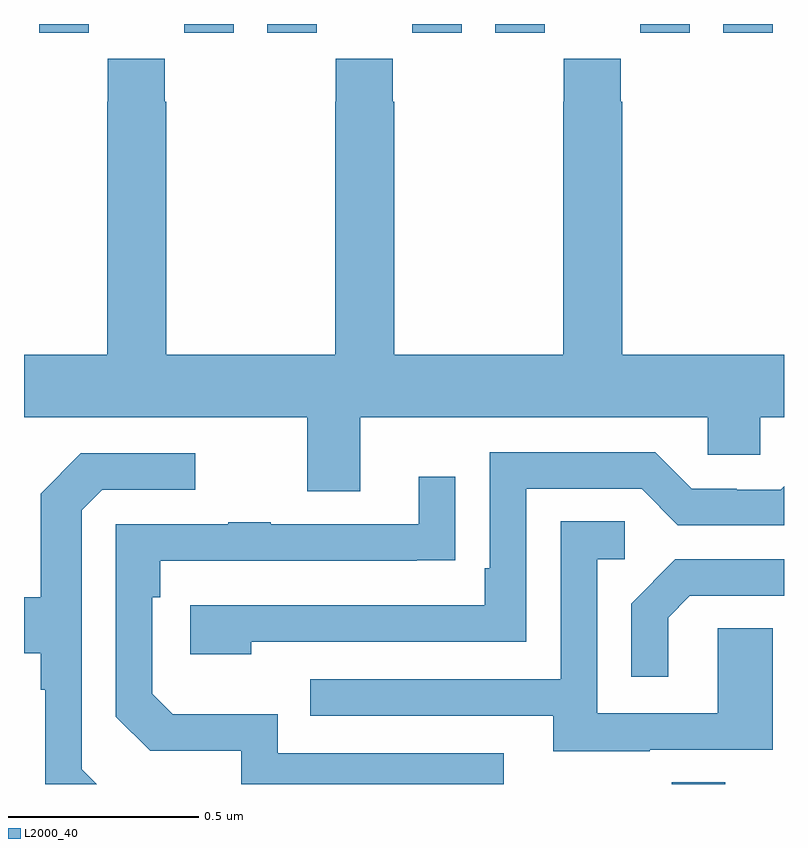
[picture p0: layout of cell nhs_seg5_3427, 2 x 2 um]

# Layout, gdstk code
import gdstk
lib = gdstk.Library(unit=1e-6, precision=1e-09)
def R(c, l, rs):  # rectangles x0, y0, x1, y1
    for r in rs: c.add(gdstk.rectangle(r[:2], r[2:], *l))
def P(c, l, *ps):  # polygons
    for p in ps: c.add(gdstk.Polygon(p, *l))
L2000_40 = (2000, 40)

nhs_seg5_3427 = lib.new_cell('nhs_seg5_3427')
R(nhs_seg5_3427, L2000_40, [(158.705,851.799,158.845,851.804), (157.04,853.776,157.17,853.799), (157.422,853.776,157.552,853.799), (157.64,853.776,157.77,853.799), (158.022,853.776,158.152,853.799), (158.24,853.776,158.37,853.799), (158.622,853.776,158.752,853.799), (158.84,853.776,158.97,853.799)])
P(nhs_seg5_3427, L2000_40, [(158.574,853.595),(158.571,853.595),(158.571,853.708),(158.421,853.708),(158.421,853.595),(158.419,853.595),(158.419,852.928),(157.974,852.928),(157.974,853.595),(157.971,853.595),(157.971,853.708),(157.821,853.708),(157.821,853.595),(157.819,853.595),(157.819,852.928),(157.374,852.928),(157.374,853.595),(157.371,853.595),(157.371,853.708),(157.221,853.708),(157.221,853.595),(157.219,853.595),(157.219,852.928),(157,852.928),(157,852.764),(157.745,852.764),(157.745,852.57),(157.885,852.57),(157.885,852.764),(158.799,852.764),(158.799,852.666),(158.937,852.666),(158.937,852.764),(159,852.764),(159,852.928),(158.574,852.928)],
  [(157.598,852.174),(158.322,852.174),(158.322,852.576),(158.625,852.576),(158.721,852.48),(159,852.48),(159,852.582),(158.991,852.573),(158.876,852.573),(158.876,852.576),(158.757,852.576),(158.661,852.672),(158.226,852.672),(158.226,852.367),(158.213,852.367),(158.213,852.27),(157.437,852.27),(157.437,852.14),(157.598,852.14)],
  [(157.152,851.838),(157.152,852.519),(157.206,852.573),(157.45,852.573),(157.45,852.669),(157.149,852.669),(157.044,852.563),(157.044,852.291),(157,852.291),(157,852.143),(157.044,852.143),(157.044,852.047),(157.056,852.047),(157.056,851.799),(157.191,851.799)],
  [(158.263,851.88),(157.668,851.88),(157.668,851.983),(157.391,851.983),(157.338,852.036),(157.338,852.29),(157.358,852.29),(157.358,852.387),(158.033,852.387),(158.033,852.388),(158.135,852.388),(158.135,852.607),(158.039,852.607),(158.039,852.483),(157.649,852.483),(157.649,852.488),(157.537,852.488),(157.537,852.483),(157.242,852.483),(157.242,851.976),(157.332,851.886),(157.572,851.886),(157.572,851.799),(158.263,851.799)],
  [(158.647,851.889),(158.971,851.889),(158.971,852.209),(158.826,852.209),(158.826,851.985),(158.508,851.985),(158.508,852.39),(158.581,852.39),(158.581,852.491),(158.412,852.491),(158.412,852.075),(157.753,852.075),(157.753,851.979),(158.393,851.979),(158.393,851.885),(158.647,851.885)],
  [(158.695,852.237),(158.752,852.294),(159,852.294),(159,852.39),(158.714,852.39),(158.598,852.274),(158.598,852.081),(158.695,852.081)])

lib.write_gds('nhs_seg5_3427.gds')
